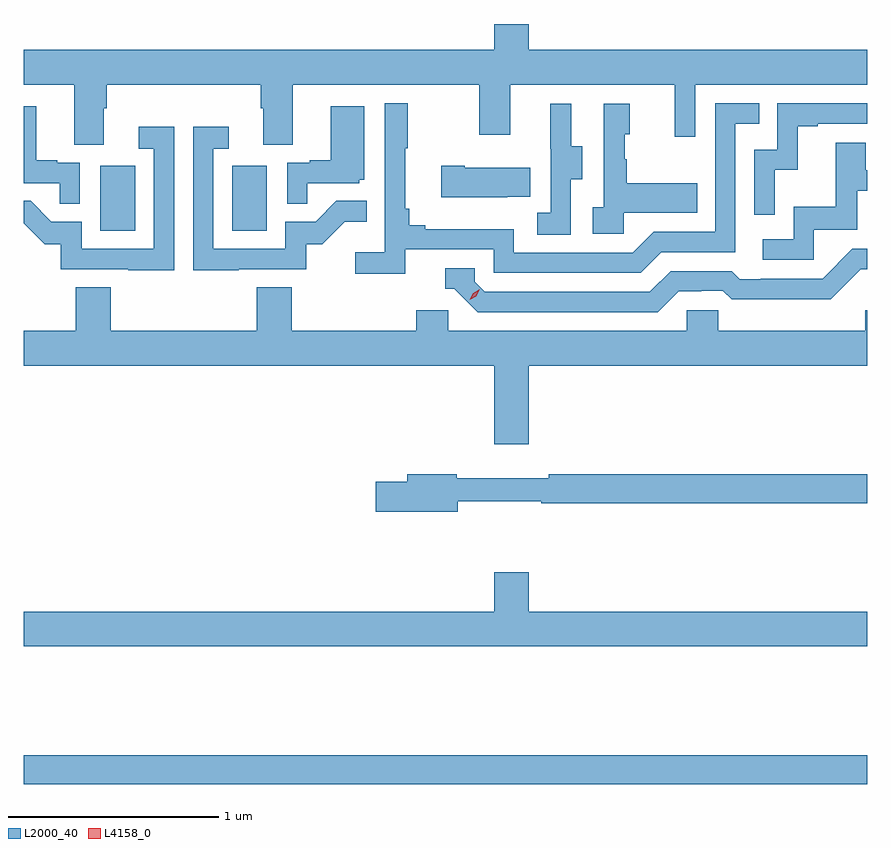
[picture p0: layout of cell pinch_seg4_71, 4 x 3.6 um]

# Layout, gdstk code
import gdstk
lib = gdstk.Library(unit=1e-6, precision=1e-09)
def R(c, l, rs):  # rectangles x0, y0, x1, y1
    for r in rs: c.add(gdstk.rectangle(r[:2], r[2:], *l))
def P(c, l, *ps):  # polygons
    for p in ps: c.add(gdstk.Polygon(p, *l))
L2000_40 = (2000, 40)
L4158_0 = (4158, 0)

pinch_seg4_71 = lib.new_cell('pinch_seg4_71')
R(pinch_seg4_71, L2000_40, [(1037.902,818.812,1041.902,818.948), (1038.266,821.436,1038.43,821.743), (1038.89,821.436,1039.054,821.743)])
P(pinch_seg4_71, L2000_40, [(1038.283,822.016),(1038.296,822.016),(1038.296,822.128),(1039.025,822.128),(1039.025,822.016),(1039.037,822.016),(1039.037,821.842),(1039.177,821.842),(1039.177,822.128),(1040.062,822.128),(1040.062,821.889),(1040.209,821.889),(1040.209,822.128),(1040.99,822.128),(1040.99,821.88),(1041.087,821.88),(1041.087,822.128),(1041.902,822.128),(1041.902,822.292),(1040.296,822.292),(1040.296,822.415),(1040.132,822.415),(1040.132,822.292),(1037.902,822.292),(1037.902,822.128),(1038.143,822.128),(1038.143,821.842),(1038.283,821.842)],
  [(1039.712,821.346),(1040.13,821.346),(1040.13,821.235),(1040.827,821.235),(1040.926,821.334),(1041.276,821.334),(1041.276,821.943),(1041.389,821.943),(1041.389,822.039),(1041.18,822.039),(1041.18,821.43),(1040.889,821.43),(1040.79,821.331),(1040.226,821.331),(1040.226,821.443),(1039.807,821.443),(1039.807,821.462),(1039.73,821.462),(1039.73,821.539),(1039.711,821.539),(1039.711,821.827),(1039.723,821.827),(1039.723,822.04),(1039.614,822.04),(1039.614,821.332),(1039.473,821.332),(1039.473,821.23),(1039.712,821.23)],
  [(1041.462,821.723),(1041.572,821.723),(1041.572,821.931),(1041.667,821.931),(1041.667,821.943),(1041.902,821.943),(1041.902,822.039),(1041.474,822.039),(1041.474,821.82),(1041.366,821.82),(1041.366,821.511),(1041.462,821.511)],
  [(1040.496,821.68),(1040.551,821.68),(1040.551,821.835),(1040.497,821.835),(1040.497,822.037),(1040.399,822.037),(1040.399,821.823),(1040.4,821.823),(1040.4,821.519),(1040.337,821.519),(1040.337,821.416),(1040.496,821.416)],
  [(1040.748,821.519),(1041.095,821.519),(1041.095,821.659),(1040.761,821.659),(1040.761,821.774),(1040.751,821.774),(1040.751,821.892),(1040.776,821.892),(1040.776,822.037),(1040.652,822.037),(1040.652,821.546),(1040.601,821.546),(1040.601,821.421),(1040.748,821.421)],
  [(1039.247,821.661),(1039.494,821.661),(1039.494,821.676),(1039.516,821.676),(1039.516,822.025),(1039.358,822.025),(1039.358,821.77),(1039.259,821.77),(1039.259,821.757),(1039.152,821.757),(1039.152,821.563),(1039.247,821.563)],
  [(1038.168,821.757),(1038.062,821.757),(1038.062,821.77),(1037.962,821.77),(1037.962,822.025),(1037.902,822.025),(1037.902,821.661),(1038.073,821.661),(1038.073,821.563),(1038.168,821.563)],
  [(1038.615,821.929),(1038.447,821.929),(1038.447,821.823),(1038.519,821.823),(1038.519,821.349),(1038.177,821.349),(1038.177,821.478),(1038.033,821.478),(1037.935,821.576),(1037.902,821.576),(1037.902,821.47),(1038.002,821.37),(1038.079,821.37),(1038.079,821.253),(1038.397,821.253),(1038.397,821.248),(1038.615,821.248)],
  [(1038.923,821.253),(1039.242,821.253),(1039.242,821.37),(1039.318,821.37),(1039.425,821.477),(1039.529,821.477),(1039.529,821.576),(1039.385,821.576),(1039.287,821.478),(1039.143,821.478),(1039.143,821.349),(1038.801,821.349),(1038.801,821.823),(1038.874,821.823),(1038.874,821.929),(1038.705,821.929),(1038.705,821.248),(1038.923,821.248)],
  [(1041.648,821.439),(1041.853,821.439),(1041.853,821.625),(1041.902,821.625),(1041.902,821.721),(1041.895,821.721),(1041.895,821.851),(1041.751,821.851),(1041.751,821.548),(1041.552,821.548),(1041.552,821.394),(1041.405,821.394),(1041.405,821.298),(1041.648,821.298)],
  [(1040.195,821.597),(1040.303,821.597),(1040.303,821.734),(1039.993,821.734),(1039.993,821.742),(1039.881,821.742),(1039.881,821.594),(1040.195,821.594)],
  [(1041.007,821.148),(1041.114,821.148),(1041.114,821.151),(1041.217,821.151),(1041.259,821.109),(1041.492,821.109),(1041.492,821.111),(1041.728,821.111),(1041.87,821.253),(1041.902,821.253),(1041.902,821.349),(1041.831,821.349),(1041.69,821.208),(1041.397,821.208),(1041.397,821.205),(1041.298,821.205),(1041.259,821.244),(1040.97,821.244),(1040.871,821.145),(1040.088,821.145),(1040.04,821.193),(1040.04,821.256),(1039.901,821.256),(1039.901,821.16),(1039.944,821.16),(1040.055,821.049),(1040.908,821.049)],
  [(1040.296,820.796),(1041.902,820.796),(1041.902,821.058),(1041.893,821.058),(1041.893,820.96),(1041.195,820.96),(1041.195,821.058),(1041.045,821.058),(1041.045,820.96),(1039.914,820.96),(1039.914,821.058),(1039.763,821.058),(1039.763,820.96),(1039.172,820.96),(1039.172,821.168),(1039.007,821.168),(1039.007,820.96),(1038.314,820.96),(1038.314,821.168),(1038.149,821.168),(1038.149,820.96),(1037.902,820.96),(1037.902,820.796),(1040.132,820.796),(1040.132,820.422),(1040.296,820.422)],
  [(1039.96,820.152),(1040.356,820.152),(1040.356,820.144),(1041.902,820.144),(1041.902,820.28),(1040.392,820.28),(1040.392,820.261),(1039.956,820.261),(1039.956,820.28),(1039.721,820.28),(1039.721,820.244),(1039.572,820.244),(1039.572,820.102),(1039.96,820.102)],
  [(1041.902,819.628),(1040.296,819.628),(1040.296,819.817),(1040.132,819.817),(1040.132,819.628),(1037.902,819.628),(1037.902,819.464),(1041.902,819.464)])
P(pinch_seg4_71, L4158_0, [(1040.017,821.107),(1040.017,821.107),(1040.034,821.139),(1040.065,821.158),(1040.065,821.158),(1040.065,821.158),(1040.048,821.125),(1040.018,821.107)])

lib.write_gds('pinch_seg4_71.gds')
